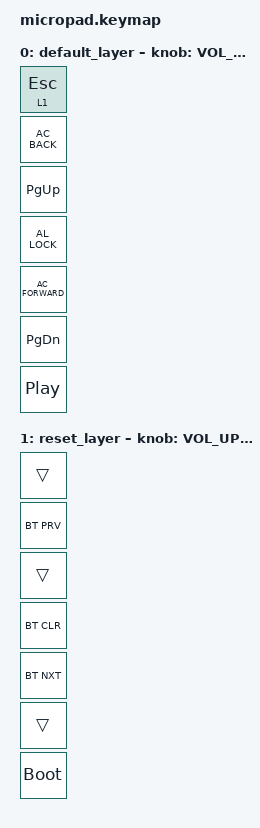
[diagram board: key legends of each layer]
/*
 * Copyright (c) 2021 The ZMK Contributors
 *
 * SPDX-License-Identifier: MIT
 */

#include <behaviors.dtsi>
#include <dt-bindings/zmk/keys.h>
#include <dt-bindings/zmk/bt.h>

#define TIMEOUT 300
/*

*/

/ {

    keymap0: keymap {
        compatible = "zmk,keymap";

        default_layer {
            bindings = <  
            &lt 1 ESC         // &kp N1
            &kp C_AC_BACK     // &kp N2
            &kp PG_UP         // &kp N3
            &kp C_AL_LOCK     // &kp N4
            &kp C_AC_FORWARD  // &kp N5
            &kp PG_DN         // &kp N6
            &kp C_PP          // &kp N7
            >;

            sensor-bindings = <&inc_dec_kp C_VOL_UP C_VOL_DN>;
        };

        reset_layer {
            bindings = <
                &trans        // &kp N1
                &bt BT_PRV    // &kp N2
                &trans        // &kp N3
                &bt BT_CLR    // &kp N4
                &bt BT_NXT    // &kp N5
                &trans        // &kp N6
                &bootloader   // &kp N7
            >;

            sensor-bindings = <&inc_dec_kp C_VOL_UP C_VOL_DN>;
        };
    };
};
